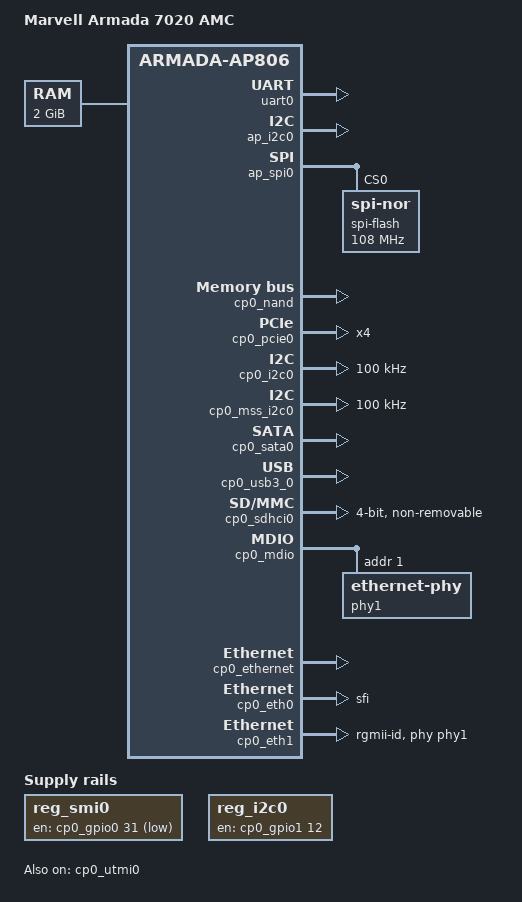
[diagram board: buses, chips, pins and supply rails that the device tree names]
// SPDX-License-Identifier: GPL-2.0+
/*
 * Copyright (C) 2018 Marvell International Ltd.
 */

/*
 * Device Tree file for Marvell Armada 7020 AMC board
 * Boot device: NAND
 */

#include "armada-70x0.dtsi"

/ {
	model = "Marvell Armada 7020 AMC";
	compatible = "marvell,armada7020-amc", "marvell,armada7020",
		     "marvell,armada-ap806";

	chosen {
		stdout-path = "serial0:115200n8";
	};

	aliases {
		i2c0 = &cp0_i2c0;
		i2c1 = &cp0_mss_i2c0;
		i2c2 = &ap_i2c0;
		spi0 = &ap_spi0;
	};

	memory@00000000 {
		device_type = "memory";
		reg = <0x0 0x0 0x0 0x80000000>; /* 2GB */
	};

	simple-bus {
		compatible = "simple-bus";
		#address-cells = <1>;
		#size-cells = <0>;

		reg_smi0: reg_smi {
			compatible = "regulator-fixed";
			regulator-name = "reg-smi";
			/*
			 * set GPIO[31] to 0 to connect SMI to main switch
			 * board
			 */
			gpio = <&cp0_gpio0 31 GPIO_ACTIVE_HIGH>;
		};

		reg_i2c0: reg_i2c {
			compatible = "regulator-fixed";
			regulator-name = "reg-i2c";
			enable-active-high;
			 /*
			  * set GPIO[44] to 1 to connect ap_i2c0 to main switch
			  * board
			  */
			gpio = <&cp0_gpio1 12 GPIO_ACTIVE_HIGH>;
		};
	};
};

&ap_pinctl {
	   /* MPP Bus:
	    * SPI  [0-3]
	    * I2C  [4-5]
	    * UART0 [11,19]
	    */
		  /* 0 1 2 3 4 5 6 7 8 9 */
	pin-func = < 3 3 3 3 3 3 0 0 0 0
		     0 3 0 0 0 0 0 0 0 3 >;
};

&uart0 {
	status = "okay";
};

&ap_i2c0 {
	pinctrl-names = "default";
	pinctrl-0 = <&ap_i2c0_pins>;
	enable_gpios = <&reg_i2c0>;
	status = "okay";
};

&ap_spi0 {
	status = "okay";

	spi-flash@0 {
		#address-cells = <0x1>;
		#size-cells = <0x1>;
		compatible = "jedec,spi-nor", "spi-flash";
		reg = <0x0>;
		spi-max-frequency = <108000000>;
	};
};

&cp0_nand {
	status = "okay";
};

&cp0_pcie0 {
	num-lanes = <4>;
	ranges =
		/* downstream I/O */
		<0x81000000 0 0xfa000000 0  0xfa000000 0 0x10000
		/* non-prefetchable memory */
		0x82000000 0 0xf6000000 0  0xf6000000 0 0x4000000>;

	status = "okay";
};

&cp0_i2c0 {
	pinctrl-names = "default";
	pinctrl-0 = <&cp0_i2c0_pins>;
	status = "okay";
	clock-frequency = <100000>;
};

&cp0_mss_i2c0 {
	status = "okay";
	clock-frequency = <100000>;
};

&cp0_pinctl {
		/* MPP Bus:
		 * RGMII [0-11]
		 * Device Bus [13-27]
		 * SATA1 [28]
		 * UART0 [29-30]
		 * SMI	 [32,34]
		 * XSMI  [35-36]
		 * I2C0	 [37-38]
		 * I2C1	 [50-51]
		 * SD	 [49, 55-61]
		 */
		/*   0    1    2    3    4    5    6    7    8    9 */
	pin-func = < 3    3    3    3    3    3    3    3    3    3
		     3    3    0    2    3    1    1    1    1    1
		     1    1    1    1    1    1    1    1    9    0xA
		     0xA  0    7    0    7    7    7    2    2    0xFF
		     0xFF 0xFF 0xFF 0xFF 0    0    0    0    0    0xA
		     2    2    0    0    0    0xB  0xE  0xE  0xE  0xE
		     0xE  0xE  0>;
};

&cp0_sata0 {
	status = "okay";
};

&cp0_comphy {
	phy0 {
		phy-type = <COMPHY_TYPE_PEX0>;
	};

	phy1 {
		phy-type = <COMPHY_TYPE_PEX0>;
	};

	phy2 {
		phy-type = <COMPHY_TYPE_PEX0>;
	};

	phy3 {
		phy-type = <COMPHY_TYPE_PEX0>;
	};

	phy4 {
		phy-type = <COMPHY_TYPE_SFI0>;
		phy-speed = <COMPHY_SPEED_10_3125G>;
	};

	phy5 {
		phy-type = <COMPHY_TYPE_SATA1>;
	};
};

&cp0_usb3_0 {
	status = "okay";
};

&cp0_utmi0 {
	status = "okay";
};

&cp0_sdhci0 {
	status = "okay";
	bus-width = <4>;
	no-1-8-v;
	non-removable;
};

&cp0_mdio {
	status = "okay";
	enable_gpios = <&reg_smi0>;
	phy1: ethernet-phy@1 {
		reg = <1>;
	};
};

&cp0_ethernet {
	status = "okay";
};

&cp0_eth0 {
	status = "okay";
	phy-mode = "sfi";
};

&cp0_eth1 {
	status = "okay";
	phy = <&phy1>;
	phy-mode = "rgmii-id";
};
